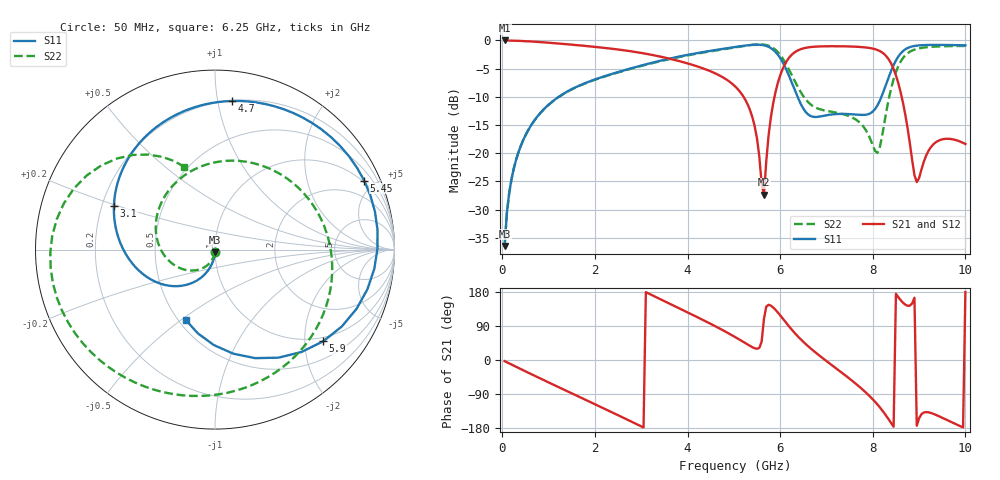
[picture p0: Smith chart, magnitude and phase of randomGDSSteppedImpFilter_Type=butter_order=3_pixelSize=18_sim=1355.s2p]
! freq	dB(S11)	phase(S11)	dB(S12)	phase(S12)
!  dB(S21)	phase(S21)	dB(S22)	phase(S22)
!S-par simulation data
#  GHz  S  DB  R 50
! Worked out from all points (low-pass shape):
!   200 points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, 50 MHz to 10 GHz, reference 50 ohm
!   highest |S21| = -0.01 dB at 50 MHz (marker M1); lowest = -27.4 dB at 5.65 GHz (marker M2)
!   |S21| within 3 dB of the highest: start of sweep to 3.488 GHz; 6.199 GHz to 8.312 GHz (2.113 GHz wide, 29.1 % of centre)
!   lowest |S11| = -36.5 dB at 50 MHz (marker M3), VSWR 1.03, Z = 49.9 - j1.5 ohm
!   |S11| at or under -10 dB: start of sweep to 1.22 GHz; 6.376 GHz to 8.187 GHz (1.811 GHz wide, 24.9 % of centre)
!   |S22| runs from -36.5 to -0.7 dB; largest |S21 - S12| = 0
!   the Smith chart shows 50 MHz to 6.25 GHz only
!   S11 on the Smith chart (normalised r, x): 50 MHz: 1.00, -0.03; 3.1 GHz: 0.25, +0.19; 4.7 GHz: 0.20, +1.10; 5.45 GHz: 0.92, +4.36; 5.9 GHz: 0.90, -2.44; 6.25 GHz: 0.54, -0.52
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0.05  -36.48 -91.8  -0.01 -3.0  -0.01 -3.0  -36.50 -93.6
0.2  -24.56 -98.7  -0.03 -12.0  -0.03 -12.0  -24.59 -105.7
0.5  -16.83 -111.7  -0.13 -29.9  -0.13 -29.9  -16.86 -129.0
1.75  -7.71 -158.7  -0.94 -102.4  -0.94 -102.4  -7.76 132.6
2.45  -5.73 178.6  -1.56 -142.8  -1.56 -142.8  -5.80 74.4
3.1  -4.24 156.6  -2.36 179.0  -2.36 179.0  -4.33 20.2
3.4  -3.63 145.3  -2.85 161.3  -2.85 161.3  -3.71 -4.0
4.7  -1.58 83.4  -6.26 82.7  -6.26 82.7  -1.66 -99.1
5.05  -1.14 60.3  -8.34 59.1  -8.34 59.1  -1.20 -124.6
5.45  -0.76 24.8  -15.23 31.0  -15.23 31.0  -0.75 -158.3
5.65  -0.86 0.3  -27.39 108.2  -27.39 108.2  -0.75 -179.1
5.9  -2.05 -40.3  -9.15 132.4  -9.15 132.4  -1.67 150.0
6.25  -7.45 -112.7  -2.54 80.2  -2.54 80.2  -6.13 110.5
6.7  -13.53 140.4  -1.14 26.2  -1.14 26.2  -11.61 93.5
7.2  -13.07 77.8  -1.03 -21.2  -1.03 -21.2  -12.79 59.1
7.75  -13.21 59.6  -1.17 -74.6  -1.17 -74.6  -14.83 -18.3
8.1  -11.54 72.8  -1.69 -117.2  -1.69 -117.2  -19.96 -135.8
8.35  -6.40 72.7  -3.44 -157.8  -3.44 -157.8  -10.20 104.3
8.55  -2.87 52.5  -7.54 166.1  -7.54 166.1  -4.59 48.4
8.85  -1.07 17.8  -21.20 149.2  -21.20 149.2  -1.79 -12.5
9.35  -0.79 -22.4  -18.13 -144.1  -18.13 -144.1  -1.09 -71.6
10  -0.88 -62.9  -18.37 179.3  -18.37 179.3  -0.98 -120.1
